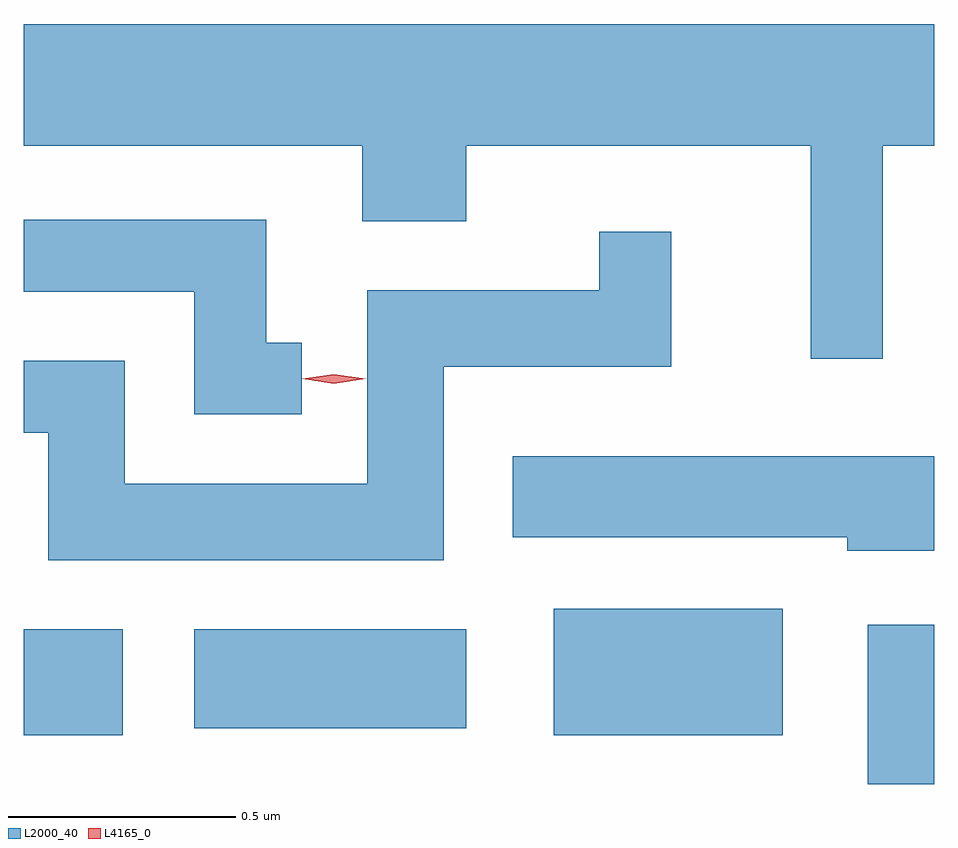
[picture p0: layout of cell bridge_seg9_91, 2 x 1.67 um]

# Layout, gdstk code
import gdstk
lib = gdstk.Library(unit=1e-6, precision=1e-09)
def R(c, l, rs):  # rectangles x0, y0, x1, y1
    for r in rs: c.add(gdstk.rectangle(r[:2], r[2:], *l))
def P(c, l, *ps):  # polygons
    for p in ps: c.add(gdstk.Polygon(p, *l))
L2000_40 = (2000, 40)
L4165_0 = (4165, 0)

bridge_seg9_91 = lib.new_cell('bridge_seg9_91')
R(bridge_seg9_91, L2000_40, [(1720.841,1983.754,1720.987,1984.104), (1718.987,1983.861,1719.204,1984.094), (1720.151,1983.861,1720.654,1984.139), (1719.361,1983.876,1719.959,1984.094)])
P(bridge_seg9_91, L2000_40, [(1720.874,1985.156),(1720.987,1985.156),(1720.987,1985.424),(1718.987,1985.424),(1718.987,1985.156),(1719.731,1985.156),(1719.731,1984.991),(1719.959,1984.991),(1719.959,1985.156),(1720.716,1985.156),(1720.716,1984.688),(1720.874,1984.688)],
  [(1719.598,1984.724),(1719.519,1984.724),(1719.519,1984.994),(1718.987,1984.994),(1718.987,1984.836),(1719.361,1984.836),(1719.361,1984.566),(1719.598,1984.566)],
  [(1719.909,1984.671),(1720.409,1984.671),(1720.409,1984.968),(1720.251,1984.968),(1720.251,1984.839),(1719.741,1984.839),(1719.741,1984.414),(1719.209,1984.414),(1719.209,1984.684),(1718.987,1984.684),(1718.987,1984.526),(1719.041,1984.526),(1719.041,1984.246),(1719.909,1984.246)],
  [(1720.987,1984.474),(1720.061,1984.474),(1720.061,1984.296),(1720.796,1984.296),(1720.796,1984.266),(1720.987,1984.266)])
P(bridge_seg9_91, L4165_0, [(1719.668,1984.634),(1719.599,1984.644),(1719.599,1984.644),(1719.599,1984.645),(1719.668,1984.654),(1719.738,1984.644),(1719.738,1984.644),(1719.738,1984.644)])

lib.write_gds('bridge_seg9_91.gds')
